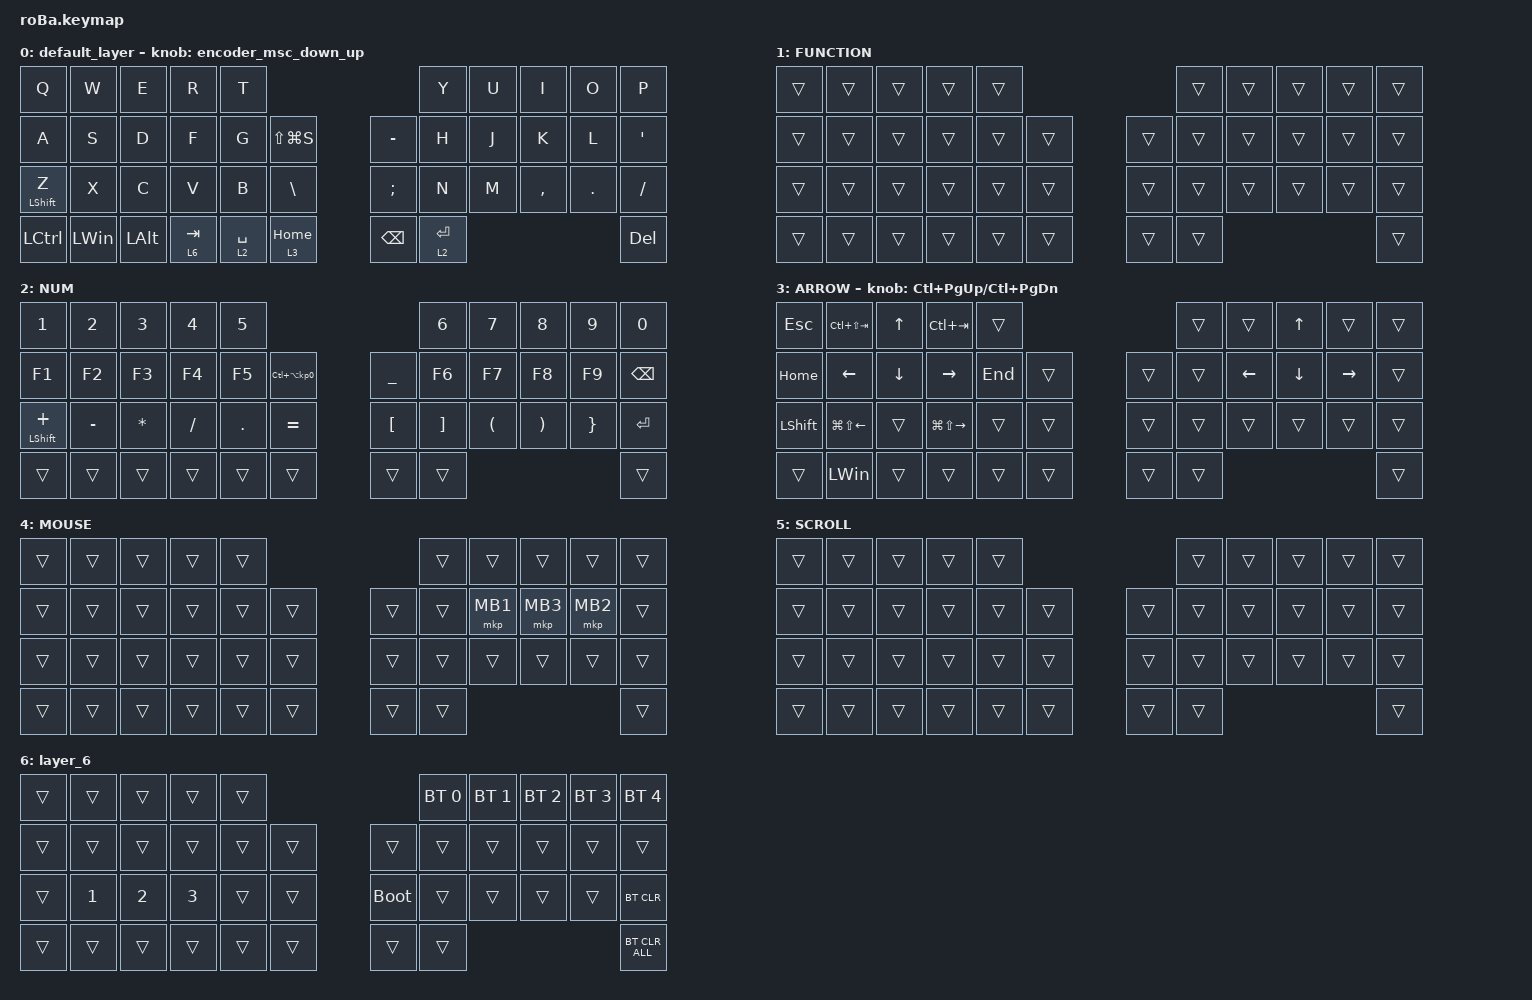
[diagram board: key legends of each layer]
#include <behaviors.dtsi>
#include <dt-bindings/zmk/bt.h>
#include <dt-bindings/zmk/keys.h>
#include <dt-bindings/zmk/pointing.h>

#define ZMK_POINTING_DEFAULT_SCRL_VAL 80

&mt {
    flavor = "balanced";
    quick-tap-ms = <0>;
};

&trackball {
    automouse-layer = <4>;
    scroll-layers = <5>;

    // arrows {
    //     layers = <3>;
    //     bindings =
    //         <&kp RIGHT_ARROW>,
    //         <&kp LEFT_ARROW>,
    //         <&kp UP_ARROW>,
    //         <&kp DOWN_ARROW>;
    //     tick = <10>;
    //     wait-ms = <5>;
    //     tap-ms = <5>;
    // };
};

/ {
    combos {
        compatible = "zmk,combos";

        tab {
            bindings = <&kp TAB>;
            key-positions = <11 12>;
        };

        shift_tab {
            bindings = <&kp LS(TAB)>;
            key-positions = <12 13>;
        };

        muhennkann {
            bindings = <&to_layer_0 INT_MUHENKAN>;
            key-positions = <11 10>;
        };

        double_quotation {
            bindings = <&kp DOUBLE_QUOTES>;
            key-positions = <20 21>;
        };

        eq {
            bindings = <&kp EQUAL>;
            key-positions = <24 25>;
        };

        kill_AML {
            bindings = <&tog 4>;
            key-positions = <33 42>;
        };
    };

    behaviors {
        encoder_msc_down_up: encoder_msc_down_up {
            compatible = "zmk,behavior-sensor-rotate";
            label = "ENCODER_MSC_DOWN_UP";
            #sensor-binding-cells = <0>;
            bindings = <&msc SCRL_DOWN>, <&msc SCRL_UP>;

            tap-ms = <20>;
        };
    };

    macros {
        to_layer_0: to_layer_0 {
            compatible = "zmk,behavior-macro-one-param";
            #binding-cells = <1>;
            bindings = <&to 0 &macro_param_1to1 &kp MACRO_PLACEHOLDER>;
            label = "TO_LAYER_0";
        };
    };

    behaviors {
        lt_to_layer_0: lt_to_layer_0 {
            compatible = "zmk,behavior-hold-tap";
            label = "LAYER_TAP_TO_0";
            bindings = <&mo>, <&to_layer_0>;

            #binding-cells = <2>;
            tapping-term-ms = <200>;
        };
    };

    keymap {
        compatible = "zmk,keymap";

        default_layer {
            bindings = <
&kp Q             &kp W         &kp E         &kp R      &kp T                                                  &kp Y        &kp U  &kp I      &kp O    &kp P
&kp A             &kp S         &kp D         &kp F      &kp G        &kp LS(LG(S))              &kp MINUS      &kp H        &kp J  &kp K      &kp L    &kp SQT
&mt LEFT_SHIFT Z  &kp X         &kp C         &kp V      &kp B        &kp BACKSLASH              &kp SEMICOLON  &kp N        &kp M  &kp COMMA  &kp DOT  &kp SLASH
&kp LCTRL         &kp LEFT_WIN  &kp LEFT_ALT  &lt 6 TAB  &lt 2 SPACE  &lt_to_layer_0 3 HOME      &kp BACKSPACE  &lt 2 ENTER                             &kp DEL
            >;

            sensor-bindings = <&encoder_msc_down_up>;
        };

        FUNCTION {
            bindings = <
&trans  &trans  &trans  &trans  &trans                      &trans  &trans  &trans  &trans  &trans
&trans  &trans  &trans  &trans  &trans  &trans      &trans  &trans  &trans  &trans  &trans  &trans
&trans  &trans  &trans  &trans  &trans  &trans      &trans  &trans  &trans  &trans  &trans  &trans
&trans  &trans  &trans  &trans  &trans  &trans      &trans  &trans                          &trans
            >;
        };

        NUM {
            bindings = <
&kp N1               &kp N2     &kp N3        &kp N4     &kp N5                                                     &kp N6             &kp N7                &kp N8                 &kp N9           &kp N0
&kp F1               &kp F2     &kp F3        &kp F4     &kp F5      &kp LC(LA(KP_NUMBER_0))      &kp UNDERSCORE    &kp F6             &kp F7                &kp F8                 &kp F9           &kp BACKSPACE
&mt LEFT_SHIFT PLUS  &kp MINUS  &kp ASTERISK  &kp SLASH  &kp PERIOD  &kp EQUAL                    &kp LEFT_BRACKET  &kp RIGHT_BRACKET  &kp LEFT_PARENTHESIS  &kp RIGHT_PARENTHESIS  &kp RIGHT_BRACE  &kp ENTER
&trans               &trans     &trans        &trans     &trans      &trans                       &trans            &trans                                                                           &trans
            >;
        };

        ARROW {
            bindings = <
&kp ESCAPE      &kp LC(LS(TAB))         &kp UP_ARROW    &kp LC(TAB)              &trans                       &trans  &trans    &kp UP_ARROW    &trans     &trans
&kp HOME        &kp LEFT_ARROW          &kp DOWN_ARROW  &kp RIGHT_ARROW          &kp END  &trans      &trans  &trans  &kp LEFT  &kp DOWN_ARROW  &kp RIGHT  &trans
&kp LEFT_SHIFT  &kp LG(LS(LEFT_ARROW))  &trans          &kp LG(LS(RIGHT_ARROW))  &trans   &trans      &trans  &trans  &trans    &trans          &trans     &trans
&trans          &kp LEFT_WIN            &trans          &trans                   &trans   &trans      &trans  &trans                                       &trans
            >;

            sensor-bindings = <&inc_dec_kp LC(PAGE_UP) LC(PAGE_DOWN)>;
        };

        MOUSE {
            bindings = <
&trans  &trans  &trans  &trans  &trans                      &trans  &trans    &trans    &trans    &trans
&trans  &trans  &trans  &trans  &trans  &trans      &trans  &trans  &mkp MB1  &mkp MB3  &mkp MB2  &trans
&trans  &trans  &trans  &trans  &trans  &trans      &trans  &trans  &trans    &trans    &trans    &trans
&trans  &trans  &trans  &trans  &trans  &trans      &trans  &trans                                &trans
            >;
        };

        SCROLL {
            bindings = <
&trans  &trans  &trans  &trans  &trans                      &trans  &trans  &trans  &trans  &trans
&trans  &trans  &trans  &trans  &trans  &trans      &trans  &trans  &trans  &trans  &trans  &trans
&trans  &trans  &trans  &trans  &trans  &trans      &trans  &trans  &trans  &trans  &trans  &trans
&trans  &trans  &trans  &trans  &trans  &trans      &trans  &trans                          &trans
            >;
        };

        layer_6 {
            bindings = <
&trans  &trans        &trans        &trans        &trans                           &bt BT_SEL 0  &bt BT_SEL 1  &bt BT_SEL 2  &bt BT_SEL 3  &bt BT_SEL 4
&trans  &trans        &trans        &trans        &trans  &trans      &trans       &trans        &trans        &trans        &trans        &trans
&trans  &kp NUMBER_1  &kp NUMBER_2  &kp NUMBER_3  &trans  &trans      &bootloader  &trans        &trans        &trans        &trans        &bt BT_CLR
&trans  &trans        &trans        &trans        &trans  &trans      &trans       &trans                                                  &bt BT_CLR_ALL
            >;
        };
    };
};
